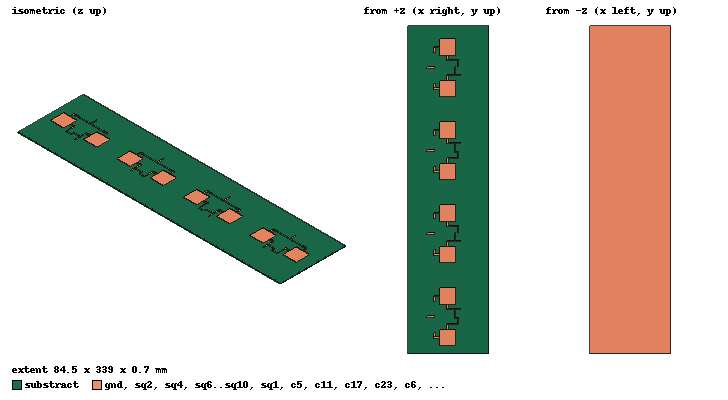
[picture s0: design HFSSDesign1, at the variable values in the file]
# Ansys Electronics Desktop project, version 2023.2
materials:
  vacuum: permittivity=1
  copper: permeability=0.999991 conductivity=58000000
  Isola FR408: permittivity=3.66 dielectric_loss_tangent=0.012

design HFSSDesign1 (HFSS, HFSS Terminal Network, model units mm)
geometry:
  gnd [copper] = box(corner=(0mm, 0mm, 0mm), size=(84.5mm, 339mm, 0.05mm))
  substract [Isola FR408] = box(corner=(0mm, 0mm, 0.05mm), size=(84.5mm, 339mm, 0.6mm))
  sq1 [copper] = box(corner=(33.3mm, 8.1mm, 0.65mm), size=(17.1mm, 17.1mm, 0.05mm))
  sq2 [copper] = box(corner=(33.3mm, 51mm, 0.65mm), size=(17.1mm, 17.1mm, 0.05mm))
  sq4 [copper] = box(corner=(33.3mm, 93.9mm, 0.65mm), size=(17.1mm, 17.1mm, 0.05mm))
  c1 [copper] = box(corner=(27.7mm, 15.9mm, 0.65mm), size=(5.6mm, 1.5mm, 0.05mm))
  c2 [copper] = box(corner=(27.7mm, 58.8mm, 0.65mm), size=(5.6mm, 1.5mm, 0.05mm))
  c3 [copper] = box(corner=(27.7mm, 15.9mm, 0.65mm), size=(1.5mm, 6.1mm, 0.05mm))
  c4 [copper] = box(corner=(27.7mm, 54.2mm, 0.65mm), size=(1.5mm, 6.1mm, 0.05mm))
  c5 [copper] = box(corner=(28.15mm, 22mm, 0.65mm), size=(0.6mm, 32.2mm, 0.05mm))
  c6 [copper] = box(corner=(20.15mm, 37.35mm, 0.65mm), size=(8mm, 1.5mm, 0.05mm))
  sq6 [copper] = box(corner=(33.3mm, 51mm, 0.65mm), size=(17.1mm, 17.1mm, 0.05mm))
  c7 [copper] = box(corner=(27.7mm, 15.9mm, 0.65mm), size=(5.6mm, 1.5mm, 0.05mm))
  c8 [copper] = box(corner=(27.7mm, 58.8mm, 0.65mm), size=(5.6mm, 1.5mm, 0.05mm))
  c9 [copper] = box(corner=(27.7mm, 15.9mm, 0.65mm), size=(1.5mm, 6.1mm, 0.05mm))
  c10 [copper] = box(corner=(27.7mm, 54.2mm, 0.65mm), size=(1.5mm, 6.1mm, 0.05mm))
  c11 [copper] = box(corner=(28.15mm, 22mm, 0.65mm), size=(0.6mm, 32.2mm, 0.05mm))
  c12 [copper] = box(corner=(20.15mm, 37.35mm, 0.65mm), size=(8mm, 1.5mm, 0.05mm))
  [sq6, c7..c12].move(0mm, 85.8mm, 0mm)
  sq7 [copper] = box(corner=(33.3mm, 93.9mm, 0.65mm), size=(17.1mm, 17.1mm, 0.05mm))
  sq8 [copper] = box(corner=(33.3mm, 51mm, 0.65mm), size=(17.1mm, 17.1mm, 0.05mm))
  sq8.move(0mm, 85.8mm, 0mm)
  c13 [copper] = box(corner=(27.7mm, 15.9mm, 0.65mm), size=(5.6mm, 1.5mm, 0.05mm))
  c13.move(0mm, 85.8mm, 0mm)
  c14 [copper] = box(corner=(27.7mm, 58.8mm, 0.65mm), size=(5.6mm, 1.5mm, 0.05mm))
  c14.move(0mm, 85.8mm, 0mm)
  c15 [copper] = box(corner=(27.7mm, 15.9mm, 0.65mm), size=(1.5mm, 6.1mm, 0.05mm))
  c15.move(0mm, 85.8mm, 0mm)
  c16 [copper] = box(corner=(27.7mm, 54.2mm, 0.65mm), size=(1.5mm, 6.1mm, 0.05mm))
  c16.move(0mm, 85.8mm, 0mm)
  c17 [copper] = box(corner=(28.15mm, 22mm, 0.65mm), size=(0.6mm, 32.2mm, 0.05mm))
  c17.move(0mm, 85.8mm, 0mm)
  c18 [copper] = box(corner=(20.15mm, 37.35mm, 0.65mm), size=(8mm, 1.5mm, 0.05mm))
  c18.move(0mm, 85.8mm, 0mm)
  [sq7, sq8, c13..c18].move(0mm, 85.8mm, 0mm)
  sq9 [copper] = box(corner=(33.3mm, 93.9mm, 0.65mm), size=(17.1mm, 17.1mm, 0.05mm))
  sq9.move(0mm, 85.8mm, 0mm)
  sq10 [copper] = box(corner=(33.3mm, 51mm, 0.65mm), size=(17.1mm, 17.1mm, 0.05mm))
  sq10.move(0mm, 85.8mm, 0mm)
  sq10.move(0mm, 85.8mm, 0mm)
  c19 [copper] = box(corner=(27.7mm, 15.9mm, 0.65mm), size=(5.6mm, 1.5mm, 0.05mm))
  c19.move(0mm, 85.8mm, 0mm)
  c19.move(0mm, 85.8mm, 0mm)
  c20 [copper] = box(corner=(27.7mm, 58.8mm, 0.65mm), size=(5.6mm, 1.5mm, 0.05mm))
  c20.move(0mm, 85.8mm, 0mm)
  c20.move(0mm, 85.8mm, 0mm)
  c21 [copper] = box(corner=(27.7mm, 15.9mm, 0.65mm), size=(1.5mm, 6.1mm, 0.05mm))
  c21.move(0mm, 85.8mm, 0mm)
  c21.move(0mm, 85.8mm, 0mm)
  c22 [copper] = box(corner=(27.7mm, 54.2mm, 0.65mm), size=(1.5mm, 6.1mm, 0.05mm))
  c22.move(0mm, 85.8mm, 0mm)
  c22.move(0mm, 85.8mm, 0mm)
  c23 [copper] = box(corner=(28.15mm, 22mm, 0.65mm), size=(0.6mm, 32.2mm, 0.05mm))
  c23.move(0mm, 85.8mm, 0mm)
  c23.move(0mm, 85.8mm, 0mm)
  c24 [copper] = box(corner=(20.15mm, 37.35mm, 0.65mm), size=(8mm, 1.5mm, 0.05mm))
  c24.move(0mm, 85.8mm, 0mm)
  c24.move(0mm, 85.8mm, 0mm)
  [sq9, sq10, c19..c24].move(0mm, 85.8mm, 0mm)
  c25 [copper] = box(corner=(41.1mm, 25.2mm, 0.65mm), size=(1.5mm, 5.9mm, 0.05mm))
  c26 [copper] = box(corner=(41.1mm, 45.1mm, 0.65mm), size=(1.5mm, 5.9mm, 0.05mm))
  c27 [copper] = box(corner=(41.1mm, 29.6mm, 0.65mm), size=(5.9mm, 1.5mm, 0.05mm))
  c28 [copper] = box(corner=(41.1mm, 45.1mm, 0.65mm), size=(5.9mm, 1.5mm, 0.05mm))
  c29 [copper] = box(corner=(47mm, 30.05mm, 0.65mm), size=(5.9mm, 0.6mm, 0.05mm))
  c30 [copper] = box(corner=(52.3mm, 30.05mm, 0.65mm), size=(0.6mm, 7.1mm, 0.05mm))
  c31 [copper] = box(corner=(49mm, 36.55mm, 0.65mm), size=(3.9mm, 0.6mm, 0.05mm))
  c32 [copper] = box(corner=(49mm, 36.55mm, 0.65mm), size=(0.6mm, 9.6mm, 0.05mm))
  c33 [copper] = box(corner=(47mm, 45.55mm, 0.65mm), size=(2.6mm, 0.6mm, 0.05mm))
  c34 [copper] = box(corner=(49.6mm, 45.1mm, 0.65mm), size=(5.9mm, 1.5mm, 0.05mm))
  c35 [copper] = box(corner=(41.1mm, 25.2mm, 0.65mm), size=(1.5mm, 5.9mm, 0.05mm))
  c36 [copper] = box(corner=(41.1mm, 45.1mm, 0.65mm), size=(1.5mm, 5.9mm, 0.05mm))
  c37 [copper] = box(corner=(41.1mm, 29.6mm, 0.65mm), size=(5.9mm, 1.5mm, 0.05mm))
  c38 [copper] = box(corner=(41.1mm, 45.1mm, 0.65mm), size=(5.9mm, 1.5mm, 0.05mm))
  c39 [copper] = box(corner=(47mm, 30.05mm, 0.65mm), size=(5.9mm, 0.6mm, 0.05mm))
  c40 [copper] = box(corner=(52.3mm, 30.05mm, 0.65mm), size=(0.6mm, 7.1mm, 0.05mm))
  c41 [copper] = box(corner=(49mm, 36.55mm, 0.65mm), size=(3.9mm, 0.6mm, 0.05mm))
  c42 [copper] = box(corner=(49mm, 36.55mm, 0.65mm), size=(0.6mm, 9.6mm, 0.05mm))
  c43 [copper] = box(corner=(47mm, 45.55mm, 0.65mm), size=(2.6mm, 0.6mm, 0.05mm))
  c44 [copper] = box(corner=(49.6mm, 45.1mm, 0.65mm), size=(5.9mm, 1.5mm, 0.05mm))
  [c35..c44].move(0mm, 171.6mm, 0mm)
  c45 [copper] = box(corner=(41.1mm, 25.2mm, 0.65mm), size=(1.5mm, 5.9mm, 0.05mm))
  c46 [copper] = box(corner=(41.1mm, 45.1mm, 0.65mm), size=(1.5mm, 5.9mm, 0.05mm))
  c47 [copper] = box(corner=(41.1mm, 29.6mm, 0.65mm), size=(5.9mm, 1.5mm, 0.05mm))
  c48 [copper] = box(corner=(41.1mm, 45.1mm, 0.65mm), size=(5.9mm, 1.5mm, 0.05mm))
  c49 [copper] = box(corner=(47mm, 30.05mm, 0.65mm), size=(5.9mm, 0.6mm, 0.05mm))
  c50 [copper] = box(corner=(52.3mm, 30.05mm, 0.65mm), size=(0.6mm, 7.1mm, 0.05mm))
  c51 [copper] = box(corner=(49mm, 36.55mm, 0.65mm), size=(3.9mm, 0.6mm, 0.05mm))
  c52 [copper] = box(corner=(49mm, 36.55mm, 0.65mm), size=(0.6mm, 9.6mm, 0.05mm))
  c53 [copper] = box(corner=(47mm, 45.55mm, 0.65mm), size=(2.6mm, 0.6mm, 0.05mm))
  c54 [copper] = box(corner=(49.6mm, 45.1mm, 0.65mm), size=(5.9mm, 1.5mm, 0.05mm))
  [c45..c54].mirror(point=(41.1mm, 81mm, 0mm), normal=(0mm, 1mm, 0mm))
  c55 [copper] = box(corner=(41.1mm, 25.2mm, 0.65mm), size=(1.5mm, 5.9mm, 0.05mm))
  c55.move(0mm, 171.6mm, 0mm)
  c56 [copper] = box(corner=(41.1mm, 45.1mm, 0.65mm), size=(1.5mm, 5.9mm, 0.05mm))
  c56.move(0mm, 171.6mm, 0mm)
  c57 [copper] = box(corner=(41.1mm, 29.6mm, 0.65mm), size=(5.9mm, 1.5mm, 0.05mm))
  c57.move(0mm, 171.6mm, 0mm)
  c58 [copper] = box(corner=(41.1mm, 45.1mm, 0.65mm), size=(5.9mm, 1.5mm, 0.05mm))
  c58.move(0mm, 171.6mm, 0mm)
  c59 [copper] = box(corner=(47mm, 30.05mm, 0.65mm), size=(5.9mm, 0.6mm, 0.05mm))
  c59.move(0mm, 171.6mm, 0mm)
  c60 [copper] = box(corner=(52.3mm, 30.05mm, 0.65mm), size=(0.6mm, 7.1mm, 0.05mm))
  c60.move(0mm, 171.6mm, 0mm)
  c61 [copper] = box(corner=(49mm, 36.55mm, 0.65mm), size=(3.9mm, 0.6mm, 0.05mm))
  c61.move(0mm, 171.6mm, 0mm)
  c62 [copper] = box(corner=(49mm, 36.55mm, 0.65mm), size=(0.6mm, 9.6mm, 0.05mm))
  c62.move(0mm, 171.6mm, 0mm)
  c63 [copper] = box(corner=(47mm, 45.55mm, 0.65mm), size=(2.6mm, 0.6mm, 0.05mm))
  c63.move(0mm, 171.6mm, 0mm)
  c64 [copper] = box(corner=(49.6mm, 45.1mm, 0.65mm), size=(5.9mm, 1.5mm, 0.05mm))
  c64.move(0mm, 171.6mm, 0mm)
  [c55..c64].mirror(point=(41.1mm, 252.6mm, 0mm), normal=(0mm, 1mm, 0mm))
